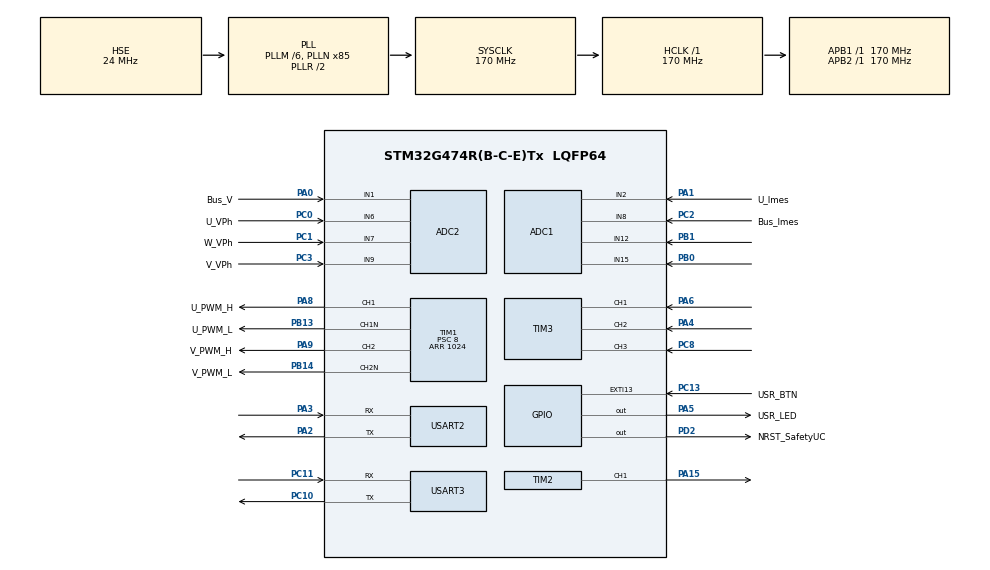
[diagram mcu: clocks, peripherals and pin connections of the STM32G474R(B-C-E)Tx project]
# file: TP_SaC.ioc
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ADC1.Channel-0\#ChannelRegularConversion=ADC_CHANNEL_8
ADC1.ExternalTrigConv=ADC_EXTERNALTRIG_T1_TRGO
ADC1.NbrOfConversion=1
ADC1.NbrOfConversionFlag=1
ADC1.OffsetNumber-0\#ChannelRegularConversion=ADC_OFFSET_NONE
ADC1.Rank-0\#ChannelRegularConversion=1
ADC1.SamplingTime-0\#ChannelRegularConversion=ADC_SAMPLETIME_247CYCLES_5
ADC1.master=1
ADC2.Channel-0\#ChannelRegularConversion=ADC_CHANNEL_6
ADC2.NbrOfConversionFlag=1
ADC2.OffsetNumber-0\#ChannelRegularConversion=ADC_OFFSET_NONE
ADC2.Rank-0\#ChannelRegularConversion=1
ADC2.SamplingTime-0\#ChannelRegularConversion=ADC_SAMPLETIME_2CYCLES_5
Dma.ADC1.0.Direction=DMA_PERIPH_TO_MEMORY
Dma.ADC1.0.EventEnable=DISABLE
Dma.ADC1.0.Instance=DMA1_Channel8
Dma.ADC1.0.MemDataAlignment=DMA_MDATAALIGN_HALFWORD
Dma.ADC1.0.MemInc=DMA_MINC_ENABLE
Dma.ADC1.0.Mode=DMA_CIRCULAR
Dma.ADC1.0.PeriphDataAlignment=DMA_PDATAALIGN_HALFWORD
Dma.ADC1.0.PeriphInc=DMA_PINC_DISABLE
Dma.ADC1.0.Polarity=HAL_DMAMUX_REQ_GEN_RISING
Dma.ADC1.0.Priority=DMA_PRIORITY_LOW
Dma.ADC1.0.RequestNumber=1
Dma.ADC1.0.SignalID=NONE
Dma.ADC1.0.SyncEnable=DISABLE
Dma.ADC1.0.SyncPolarity=HAL_DMAMUX_SYNC_NO_EVENT
Dma.ADC1.0.SyncRequestNumber=1
Dma.ADC1.0.SyncSignalID=NONE
Dma.Request0=ADC1
Mcu.Family=STM32G4
Mcu.Name=STM32G474R(B-C-E)Tx
Mcu.Package=LQFP64
NVIC.ADC1_2_IRQn=true\:0\:0\:false\:false\:true\:true\:true\:true
NVIC.DMA1_Channel8_IRQn=true\:0\:0\:false\:false\:true\:false\:true\:true
NVIC.EXTI15_10_IRQn=true\:0\:0\:false\:false\:true\:true\:true\:true
NVIC.PriorityGroup=NVIC_PRIORITYGROUP_4
NVIC.TIM1_BRK_TIM15_IRQn=true\:0\:0\:false\:false\:true\:true\:true\:true
NVIC.TIM1_CC_IRQn=true\:0\:0\:false\:false\:true\:true\:true\:true
NVIC.TIM1_TRG_COM_TIM17_IRQn=true\:0\:0\:false\:false\:true\:true\:true\:true
NVIC.TIM1_UP_TIM16_IRQn=true\:0\:0\:false\:false\:true\:true\:true\:true
NVIC.TIM6_DAC_IRQn=true\:15\:0\:false\:false\:true\:false\:true\:true
NVIC.TimeBase=TIM6_DAC_IRQn
NVIC.TimeBaseIP=TIM6
NVIC.USART2_IRQn=true\:0\:0\:false\:false\:true\:true\:true\:true
PA0.GPIO_Label=Bus_V
PA0.Mode=IN1-Single-Ended
PA0.Signal=ADC2_IN1
PA1.GPIO_Label=U_Imes
PA1.Mode=IN2-Single-Ended
PA1.Signal=ADC1_IN2
PA10.GPIO_Label=W_PWM_H
PA10.Signal=S_TIM1_CH3
PA13.GPIO_Label=T_SWDIO
PA13.Mode=Trace_Asynchronous_SW
PA13.Signal=SYS_JTMS-SWDIO
PA14.GPIO_Label=T_SWCLK
PA14.Mode=Trace_Asynchronous_SW
PA14.Signal=SYS_JTCK-SWCLK
PA15.Signal=S_TIM2_CH1
PA2.Mode=Asynchronous
PA2.Signal=USART2_TX
PA3.Mode=Asynchronous
PA3.Signal=USART2_RX
PA4.Signal=S_TIM3_CH2
PA5.GPIO_Label=USR_LED
PA5.Signal=GPIO_Output
PA6.Signal=S_TIM3_CH1
PA8.GPIO_Label=U_PWM_H
PA8.Signal=S_TIM1_CH1
PA9.GPIO_Label=V_PWM_H
PA9.Signal=S_TIM1_CH2
PB0.Mode=IN15-Single-Ended
PB0.Signal=ADC1_IN15
PB1.Mode=IN12-Single-Ended
PB1.Signal=ADC1_IN12
PB13.GPIO_Label=U_PWM_L
PB13.Mode=PWM Generation1 CH1 CH1N
PB13.Signal=TIM1_CH1N
PB14.GPIO_Label=V_PWM_L
PB14.Mode=PWM Generation2 CH2 CH2N
PB14.Signal=TIM1_CH2N
PB15.GPIO_Label=W_PWM_L
PB15.Signal=TIM1_CH3N
PB3.GPIO_Label=T_SWO
PB3.Mode=Trace_Asynchronous_SW
PB3.Signal=SYS_JTDO-SWO
PC0.GPIO_Label=U_VPh
PC0.Mode=IN6-Single-Ended
PC0.Signal=ADC2_IN6
PC1.GPIO_Label=W_VPh
PC1.Mode=IN7-Single-Ended
PC1.Signal=ADC2_IN7
PC10.Mode=Asynchronous
PC10.Signal=USART3_TX
PC11.Mode=Asynchronous
PC11.Signal=USART3_RX
PC13.GPIO_Label=USR_BTN
PC13.Signal=GPXTI13
PC14-OSC32_IN.Mode=LSE-External-Oscillator
PC14-OSC32_IN.Signal=RCC_OSC32_IN
PC15-OSC32_OUT.Mode=LSE-External-Oscillator
PC15-OSC32_OUT.Signal=RCC_OSC32_OUT
PC2.GPIO_Label=Bus_Imes
PC2.Mode=IN8-Single-Ended
PC2.Signal=ADC1_IN8
PC3.GPIO_Label=V_VPh
PC3.Mode=IN9-Single-Ended
PC3.Signal=ADC2_IN9
PC8.Signal=S_TIM3_CH3
PD2.GPIO_Label=NRST_SafetyUC
PD2.Signal=GPIO_Output
PF0-OSC_IN.Mode=HSE-External-Oscillator
PF0-OSC_IN.Signal=RCC_OSC_IN
PF1-OSC_OUT.Mode=HSE-External-Oscillator
PF1-OSC_OUT.Signal=RCC_OSC_OUT
ProjectManager.HeapSize=0x200
ProjectManager.StackSize=0x400
ProjectManager.TargetToolchain=STM32CubeIDE
RCC.ADC12Freq_Value=170000000
RCC.ADC345Freq_Value=170000000
RCC.AHBFreq_Value=170000000
RCC.APB1Freq_Value=170000000
RCC.APB1TimFreq_Value=170000000
RCC.APB2Freq_Value=170000000
RCC.APB2TimFreq_Value=170000000
RCC.CortexFreq_Value=170000000
RCC.EXTERNAL_CLOCK_VALUE=12288000
RCC.HCLKFreq_Value=170000000
RCC.HSE_VALUE=24000000
RCC.HSI48_VALUE=48000000
RCC.HSI_VALUE=16000000
RCC.PLLM=RCC_PLLM_DIV6
RCC.PLLN=85
RCC.PLLSourceVirtual=RCC_PLLSOURCE_HSE
RCC.RTCClockSelection=RCC_RTCCLKSOURCE_LSE
RCC.SYSCLKFreq_VALUE=170000000
RCC.SYSCLKSource=RCC_SYSCLKSOURCE_PLLCLK
RCC.USBFreq_Value=170000000
RCC.VCOOutputFreq_Value=340000000
SH.S_TIM1_CH1.0=TIM1_CH1,PWM Generation1 CH1 CH1N
SH.S_TIM1_CH2.0=TIM1_CH2,PWM Generation2 CH2 CH2N
SH.S_TIM1_CH3.0=TIM1_CH3
SH.S_TIM2_CH1.0=TIM2_CH1,PWM Generation1 CH1
SH.S_TIM3_CH1.0=TIM3_CH1,Xored_Inputs_Hall_Sensor_Interface
SH.S_TIM3_CH2.0=TIM3_CH2,Xored_Inputs_Hall_Sensor_Interface
SH.S_TIM3_CH3.0=TIM3_CH3,Xored_Inputs_Hall_Sensor_Interface
TIM1.Channel-PWM\ Generation1\ CH1\ CH1N=TIM_CHANNEL_1
TIM1.Channel-PWM\ Generation2\ CH2\ CH2N=TIM_CHANNEL_2
TIM1.CounterMode=TIM_COUNTERMODE_CENTERALIGNED1
TIM1.DeadTime=34
TIM1.DeadTimePreload=DISABLE
TIM1.OCNPolarity_1=TIM_OCNPOLARITY_HIGH
TIM1.OCNPolarity_2=TIM_OCNPOLARITY_HIGH
TIM1.OCPolarity_1=TIM_OCPOLARITY_HIGH
TIM1.OCPolarity_2=TIM_OCPOLARITY_HIGH
TIM1.PeriodNoDither=1024
TIM1.Prescaler=8
TIM1.PulseNoDither_1=512
TIM1.PulseNoDither_2=512
TIM1.TIM_MasterOutputTrigger=TIM_TRGO_UPDATE
TIM1.TIM_MasterSlaveMode=TIM_MASTERSLAVEMODE_ENABLE
TIM2.Channel-PWM\ Generation1\ CH1=TIM_CHANNEL_1
TIM2.Channel-PWM\ Generation2\ No\ Output=TIM_CHANNEL_2
USART2.VirtualMode-Asynchronous=VM_ASYNC
USART3.VirtualMode-Asynchronous=VM_ASYNC
VP_SYS_VS_DBSignals.Mode=DisableDeadBatterySignals
VP_SYS_VS_tim6.Mode=TIM6
VP_TIM1_VS_ClockSourceINT.Mode=Internal
VP_TIM2_VS_no_output2.Mode=PWM Generation2 No Output
board=NUCLEO-G474RE

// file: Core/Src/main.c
/* USER CODE BEGIN Header */
/**
  ******************************************************************************
  * @file           : main.c
  * @brief          : Main program body
  ******************************************************************************
  * @attention
  *
  * Copyright (c) 2022 STMicroelectronics.
  * All rights reserved.
  *
  * This software is licensed under terms that can be found in the LICENSE file
  * in the root directory of this software component.
  * If no LICENSE file comes with this software, it is provided AS-IS.
  *
  ******************************************************************************
  */
/* USER CODE END Header */
#include "main.h"
#include "adc.h"
#include "dma.h"
#include "tim.h"
#include "usart.h"
#include "gpio.h"

/* USER CODE BEGIN Includes */
#include <string.h>
#include <stdio.h>
#include <stdlib.h>
/* USER CODE END Includes */

/* USER CODE BEGIN PD */

#define UART_TX_BUFFER_SIZE 64 /**< Taille du buffer d'émission UART */
#define UART_RX_BUFFER_SIZE 1  /**< Taille du buffer de réception UART */
#define CMD_BUFFER_SIZE     64 /**< Taille du buffer de commande */
#define MAX_ARGS            9  /**< Nombre maximum d'arguments */

// Constantes pour la fonction de changement de vitesse

#define SPEED_STEPS 100  // Nombre d'étapes pour un changement en douceur
#define SPEED_DELAY 15   // Délai entre chaque étape (en ms)

/** Codes ASCII */

#define ASCII_LF  0x0A /**< Line Feed (saut de ligne) */
#define ASCII_CR  0x0D /**< Carriage Return (retour chariot) */
#define ASCII_DEL 0x7F /**< Delete (suppression) */

/* USER CODE END PD */

/* USER CODE BEGIN PV */

static int counter = 0;

/** @brief Prompt affiché */
const uint8_t prompt[] = "user@Nucleo-STM32G431>>";

/** @brief Message de bienvenue au démarrage du microprocesseur */
const uint8_t started[] =
    "\r\n*-----------------------------*"
    "\r\n| Welcome on Nucleo-STM32G431 |"
    "\r\n*-----------------------------*"
    "\r\n";

/** @brief chaîne pour le retour à la ligne */
const uint8_t newLine[] = "\r\n";

/**@brief Message pour la vitesse */
const uint8_t speedMsg[] = "Speed has been changed\r\n";

/** @brief Message d'aide listant les fonctions disponibles */
const uint8_t helpMsg[] =
    "Available commands:\r\n"
    "help    : Display this help message\r\n"
    "pinout  : Display the list of used pins\r\n"
    "start   : Power ON the motor stage\r\n"
    "stop    : Power OFF the motor stage\r\n";

/** @brief Liste des broches utilisées */
const uint8_t pinout[] =
    "Used pins:\r\n"
    "PA5 : LED\r\n"
    "PA2 : USART2_TX\r\n"
    "PA3 : USART2_RX\r\n";

/** @brief Message indiquant l'allumage du moteur */
const uint8_t powerOn[] = "Power ON\r\n";

/** @brief Message indiquant l'extinction du moteur */
const uint8_t powerOff[] = "Power OFF\r\n";

/** @brief Message pour commande non reconnue */
const uint8_t cmdNotFound[] = "Command not found\r\n";

/** @brief Flag indiquant la réception d'un caractère sur l'UART */
uint32_t uartRxReceived;

/** @brief Buffer de réception UART */
uint8_t uartRxBuffer[UART_RX_BUFFER_SIZE];

/** @brief Buffer d'émission UART */
uint8_t uartTxBuffer[UART_TX_BUFFER_SIZE];

/** @brief Buffer contenant la commande en cours */
char cmd[CMD_BUFFER_SIZE];

/** @brief Index pour le prochain caractère à remplir */
int idxCmd;

/** @brief Variables globales de courant et de tension adc */
float tension_adc, courant;

/** @brief Déclaration du buffer DMA */

uint16_t adc_buffer[1];

/* USER CODE END PV */

void SystemClock_Config(void);
/* USER CODE BEGIN PFP */
void changeSpeed(uint16_t speed);
void start();
void stop();
void ADC_conversion();
void HAL_ADC_ConvCpltCallback(ADC_HandleTypeDef* hadc);
/* USER CODE END PFP */

/* USER CODE BEGIN 0 */
int __io_putchar(int ch)
{
	HAL_UART_Transmit(&huart2, (uint8_t*)&ch, 1, HAL_MAX_DELAY);

	return ch;
}
/* USER CODE END 0 */

int main(void)
{

  /* USER CODE BEGIN 1 */
  /** @brief Tableau des arguments extraits de la commande */
  char* argv[MAX_ARGS];

  /** @brief Nombre d'arguments */
  int argc = 0;

  /** @brief Token pour l'analyse de la chaîne */
  char* token;

  /** @brief Flag indiquant qu'une nouvelle commande est prête */
  int newCmdReady = 0;

  /* USER CODE END 1 */

  /* MCU Configuration--------------------------------------------------------*/

  /* Reset of all peripherals, Initializes the Flash interface and the Systick. */
  HAL_Init();

  /* USER CODE BEGIN Init */
  idxCmd = 0;
  memset(cmd, '\0', CMD_BUFFER_SIZE);
  memset(argv, 0, MAX_ARGS * sizeof(char*));
  memset(uartRxBuffer, 0, UART_RX_BUFFER_SIZE);
  memset(uartTxBuffer, 0, UART_TX_BUFFER_SIZE);
  /* USER CODE END Init */

  /* Configure the system clock */
  SystemClock_Config();

  /* Initialize all configured peripherals */
  MX_GPIO_Init();
  MX_DMA_Init();
  MX_ADC2_Init();
  MX_ADC1_Init();
  MX_TIM1_Init();
  MX_TIM3_Init();
  MX_USART2_UART_Init();
  MX_USART3_UART_Init();
  MX_TIM2_Init();
  /* USER CODE BEGIN 2 */

  HAL_ADC_Start_DMA(&hadc1, (uint32_t*)adc_buffer, 1);
  HAL_TIM_Base_Start(&htim1);

  HAL_UART_Receive_IT(&huart2, uartRxBuffer, UART_RX_BUFFER_SIZE);
  HAL_Delay(10);
  HAL_UART_Transmit(&huart2, started, strlen((char*)started), HAL_MAX_DELAY);
  HAL_UART_Transmit(&huart2, prompt, strlen((char*)prompt), HAL_MAX_DELAY);

  /* USER CODE END 2 */

  /* Infinite loop */
  /* USER CODE BEGIN WHILE */

  while (1)
  {
	/**
	   * @brief Vérifie si un caractère a été reçu sur l'UART.
	   */
    if (uartRxReceived)
    {
      uint8_t receivedChar = uartRxBuffer[0];
      /**
        * @brief Écho du caractère reçu sur l'UART.
        */
      HAL_UART_Transmit(&huart2, &receivedChar, 1, HAL_MAX_DELAY);

      /**
        * @brief Traitement du caractère reçu.
        */
      switch (receivedChar)
      {
      /**
         * @brief Cas du retour chariot ou du saut de ligne : traite la commande entrée.
         */
        case ASCII_CR:
        case ASCII_LF:
          HAL_UART_Transmit(&huart2, newLine, strlen((char*)newLine), HAL_MAX_DELAY);
          cmd[idxCmd] = '\0';
          argc = 0;
          token = strtok(cmd, " ");
          while (token != NULL && argc < MAX_ARGS)
          {
            argv[argc++] = token;
            token = strtok(NULL, " ");
          }

          idxCmd = 0;
          newCmdReady = 1;
          break;
          /**
              * @brief Cas de la suppression : efface le dernier caractère saisi.
              */
        case ASCII_DEL:
          if (idxCmd > 0)
          {
            idxCmd--;
            cmd[idxCmd] = '\0';
            // Envoyer un retour en arrière pour effacer dans le terminal
            uint8_t backspace = '\b';
            HAL_UART_Transmit(&huart2, &backspace, 1, HAL_MAX_DELAY);
          }
          break;

        /**
           * @brief Cas par défaut : ajoute le caractère au buffer de commande.
           */
        default:
          if (idxCmd < CMD_BUFFER_SIZE - 1)
          {
            cmd[idxCmd++] = receivedChar;
          }
          else
          {

            idxCmd = 0;
            memset(cmd, '\0', CMD_BUFFER_SIZE);
            HAL_UART_Transmit(&huart2, (uint8_t*)"Command too long\r\n", 18, HAL_MAX_DELAY);
            HAL_UART_Transmit(&huart2, prompt, strlen((char*)prompt), HAL_MAX_DELAY);
          }
          break;
      }
      uartRxReceived = 0;
      /**
        * @brief Relance la réception UART en interruption.
        */
      HAL_UART_Receive_IT(&huart2, uartRxBuffer, UART_RX_BUFFER_SIZE);
    }
    /**
      * @brief Vérifie si une nouvelle commande est prête à être traitée.
      */
    if (newCmdReady)
    {
      newCmdReady = 0;
      if (argc > 0)
      {
    	/**
    	  * @brief Traite les commandes reconnues : help, pinout, start, stop.
    	  */
        if (strcmp(argv[0], "help") == 0)
        {
          HAL_UART_Transmit(&huart2, helpMsg, strlen((char*)helpMsg), HAL_MAX_DELAY);
        }
        else if (strcmp(argv[0], "pinout") == 0)
        {
          HAL_UART_Transmit(&huart2, pinout, strlen((char*)pinout), HAL_MAX_DELAY);
        }
        else if (strcmp(argv[0], "start") == 0)
        {
        	start();
          HAL_UART_Transmit(&huart2, powerOn, strlen((char*)powerOn), HAL_MAX_DELAY);
        }
        else if (strcmp(argv[0], "stop") == 0)
        {
          stop();
          HAL_UART_Transmit(&huart2, powerOff, strlen((char*)powerOff), HAL_MAX_DELAY);
        }
        else if(strcmp(argv[0], "adc") == 0){
        	ADC_conversion();
            printf("Tension adc : %.3f V\r\n", tension_adc);
            printf("I_moteur : %.3f A\r\n", courant);

        }
        else if (strcmp(argv[0], "speed") == 0) {
            if (argc > 1) {
            	changeSpeed(atoi(argv[1]));
                HAL_UART_Transmit(&huart2, speedMsg, strlen((char*)speedMsg), HAL_MAX_DELAY);
            } else {
                HAL_UART_Transmit(&huart2, (uint8_t*)"Speed value missing\r\n", 21, HAL_MAX_DELAY);
            }
        }
        else
        {
          HAL_UART_Transmit(&huart2, cmdNotFound, strlen((char*)cmdNotFound), HAL_MAX_DELAY);
        }
      }
      // Affiche le prompt
      HAL_UART_Transmit(&huart2, prompt, strlen((char*)prompt), HAL_MAX_DELAY);

      // Réinitialise le buffer de commande et l'index
      idxCmd = 0;
      memset(cmd, '\0', CMD_BUFFER_SIZE);
    }
  }
    /* USER CODE END WHILE */

}

void SystemClock_Config(void)
{
  RCC_OscInitTypeDef RCC_OscInitStruct = {0};
  RCC_ClkInitTypeDef RCC_ClkInitStruct = {0};

  /** Configure the main internal regulator output voltage
  */
  HAL_PWREx_ControlVoltageScaling(PWR_REGULATOR_VOLTAGE_SCALE1_BOOST);

  /** Initializes the RCC Oscillators according to the specified parameters
  * in the RCC_OscInitTypeDef structure.
  */
  RCC_OscInitStruct.OscillatorType = RCC_OSCILLATORTYPE_HSE;
  RCC_OscInitStruct.HSEState = RCC_HSE_ON;
  RCC_OscInitStruct.PLL.PLLState = RCC_PLL_ON;
  RCC_OscInitStruct.PLL.PLLSource = RCC_PLLSOURCE_HSE;
  RCC_OscInitStruct.PLL.PLLM = RCC_PLLM_DIV6;
  RCC_OscInitStruct.PLL.PLLN = 85;
  RCC_OscInitStruct.PLL.PLLP = RCC_PLLP_DIV2;
  RCC_OscInitStruct.PLL.PLLQ = RCC_PLLQ_DIV2;
  RCC_OscInitStruct.PLL.PLLR = RCC_PLLR_DIV2;
  if (HAL_RCC_OscConfig(&RCC_OscInitStruct) != HAL_OK)
  {
    Error_Handler();
  }

  /** Initializes the CPU, AHB and APB buses clocks
  */
  RCC_ClkInitStruct.ClockType = RCC_CLOCKTYPE_HCLK|RCC_CLOCKTYPE_SYSCLK
                              |RCC_CLOCKTYPE_PCLK1|RCC_CLOCKTYPE_PCLK2;
  RCC_ClkInitStruct.SYSCLKSource = RCC_SYSCLKSOURCE_PLLCLK;
  RCC_ClkInitStruct.AHBCLKDivider = RCC_SYSCLK_DIV1;
  RCC_ClkInitStruct.APB1CLKDivider = RCC_HCLK_DIV1;
  RCC_ClkInitStruct.APB2CLKDivider = RCC_HCLK_DIV1;

  if (HAL_RCC_ClockConfig(&RCC_ClkInitStruct, FLASH_LATENCY_4) != HAL_OK)
  {
    Error_Handler();
  }
}

/* USER CODE BEGIN 4 */
/**
  * @brief Callback appelé à la fin de la réception UART.
  * @param huart Handle de l'UART.
  * @retval None
  */
void HAL_UART_RxCpltCallback(UART_HandleTypeDef *huart)
{
  if (huart->Instance == USART2)
  {
    uartRxReceived = 1;
    // La relance de la réception UART est effectuée dans la boucle principale
  }
}

/** @brief Fonction qui genère les PWM avec un rapport cyclique initial de 50%
 */
void start(){

	  HAL_TIM_PWM_Start(&htim1, TIM_CHANNEL_1);
	  HAL_TIM_PWM_Start(&htim1, TIM_CHANNEL_2);

	  HAL_TIMEx_PWMN_Start(&htim1, TIM_CHANNEL_1);
	  HAL_TIMEx_PWMN_Start(&htim1, TIM_CHANNEL_2);
	__HAL_TIM_SET_COMPARE(&htim1, TIM_CHANNEL_1, 512);
	__HAL_TIM_SET_COMPARE(&htim1, TIM_CHANNEL_2, 512);

}

/** @brief Fonction qui stoppe la génération des PWM
 */
void stop(){

	  HAL_TIM_PWM_Stop(&htim1, TIM_CHANNEL_1);
	  HAL_TIM_PWM_Stop(&htim1, TIM_CHANNEL_2);
	  HAL_TIMEx_PWMN_Stop(&htim1, TIM_CHANNEL_1);
	  HAL_TIMEx_PWMN_Stop(&htim1, TIM_CHANNEL_2);

}

/** @brief Fonction qui change la vitesse du moteur en modifiant le rapport cyclique des PWM
	* @params targetspeed : vitesse d'entrée
 */

void changeSpeed(uint16_t targetSpeed) {
    static uint16_t currentSpeed = 512;  // Vitesse actuelle (persistant puisque static)

    if (targetSpeed > 100) {
        char errorMsg[50];
        sprintf(errorMsg, "Valeur de speed incorrecte: %d. Doit être entre 0 et 100.\r\n", targetSpeed);
        HAL_UART_Transmit(&huart2, (uint8_t*)errorMsg, strlen(errorMsg), HAL_MAX_DELAY);
        return;
    }

    // Converti la vitesse de 0-100 à 0-1024
    uint16_t targetValue = (targetSpeed * 1024) / 100;

    // pas de changement
    int16_t step = (targetValue - currentSpeed) / SPEED_STEPS;

    // Change progressivement la vitesse
    for (int i = 0; i < SPEED_STEPS; i++) {
        currentSpeed += step;

        // currentSpeed reste dans les limites
        if (currentSpeed > 1024) currentSpeed = 1024;
        if (currentSpeed < 0) currentSpeed = 0;

        uint16_t speed_channel_1 = currentSpeed;
        uint16_t speed_channel_2 = 1024 - currentSpeed;

        // Mise à jour du rapport cyclique
        __HAL_TIM_SET_COMPARE(&htim1, TIM_CHANNEL_1, speed_channel_1);
        __HAL_TIM_SET_COMPARE(&htim1, TIM_CHANNEL_2, speed_channel_2);

        HAL_Delay(SPEED_DELAY);  // Petit délai pour une transition en douceur
    }

    // Assurer que la vitesse finale est exactement celle demandée
    currentSpeed = targetValue;
    __HAL_TIM_SET_COMPARE(&htim1, TIM_CHANNEL_1, currentSpeed);
    __HAL_TIM_SET_COMPARE(&htim1, TIM_CHANNEL_2, 1024 - currentSpeed);

}

/** @brief Fonction qui fait la conversion de l'entrée de l'adc(capteur de courant a effet hall) en courant (de la mcc)
 */
void ADC_conversion() {

    float sensibilite = 0.05;
    float Vref = 1.65;

    float v_adc = (adc_buffer[0] * 3.3f) / 4096.0f;
    float I_courant = (Vref - v_adc) / sensibilite;

    tension_adc = v_adc;
	courant = I_courant;

    //printf("Tension adc : %.3f V\r\n", v_adc);
    //printf("I_moteur : %.3f A\r\n", I_courant);

}

/* USER CODE END 4 */

void HAL_TIM_PeriodElapsedCallback(TIM_HandleTypeDef *htim)
{
  /* USER CODE BEGIN Callback 0 */

	if (htim->Instance == TIM1) {
		counter++;
		HAL_ADC_Start_DMA(&hadc1, (uint32_t*)adc_buffer, 1);
		}

  /* USER CODE END Callback 0 */
  if (htim->Instance == TIM6) {
    HAL_IncTick();
  }
}

void Error_Handler(void)
{
  __disable_irq();
  while (1)
  {
  }
}
